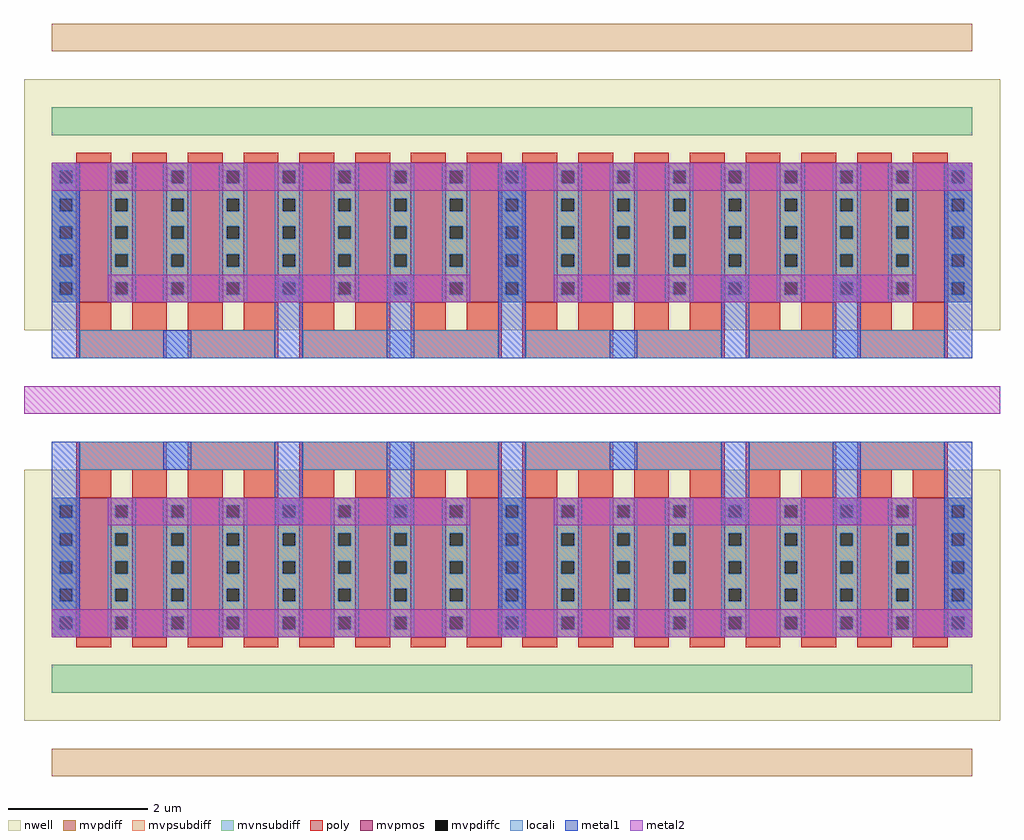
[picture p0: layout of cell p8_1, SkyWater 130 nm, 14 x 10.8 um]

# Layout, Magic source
magic
tech sky130A
<< nwell >>
rect -80 -40 1320 320
rect -80 -600 1320 -240
<< mvpmos >>
rect -5 0 45 200
rect 75 0 125 200
rect 155 0 205 200
rect 235 0 285 200
rect 315 0 365 200
rect 395 0 445 200
rect 475 0 525 200
rect 555 0 605 200
rect 635 0 685 200
rect 715 0 765 200
rect 795 0 845 200
rect 875 0 925 200
rect 955 0 1005 200
rect 1035 0 1085 200
rect 1115 0 1165 200
rect 1195 0 1245 200
rect -5 -480 45 -280
rect 75 -480 125 -280
rect 155 -480 205 -280
rect 235 -480 285 -280
rect 315 -480 365 -280
rect 395 -480 445 -280
rect 475 -480 525 -280
rect 555 -480 605 -280
rect 635 -480 685 -280
rect 715 -480 765 -280
rect 795 -480 845 -280
rect 875 -480 925 -280
rect 955 -480 1005 -280
rect 1035 -480 1085 -280
rect 1115 -480 1165 -280
rect 1195 -480 1245 -280
<< mvpdiff >>
rect -40 189 -5 200
rect -40 171 -29 189
rect -11 171 -5 189
rect -40 149 -5 171
rect -40 131 -29 149
rect -11 131 -5 149
rect -40 109 -5 131
rect -40 91 -29 109
rect -11 91 -5 109
rect -40 69 -5 91
rect -40 51 -29 69
rect -11 51 -5 69
rect -40 29 -5 51
rect -40 11 -29 29
rect -11 11 -5 29
rect -40 0 -5 11
rect 45 189 75 200
rect 45 171 51 189
rect 69 171 75 189
rect 45 149 75 171
rect 45 131 51 149
rect 69 131 75 149
rect 45 109 75 131
rect 45 91 51 109
rect 69 91 75 109
rect 45 69 75 91
rect 45 51 51 69
rect 69 51 75 69
rect 45 29 75 51
rect 45 11 51 29
rect 69 11 75 29
rect 45 0 75 11
rect 125 189 155 200
rect 125 171 131 189
rect 149 171 155 189
rect 125 149 155 171
rect 125 131 131 149
rect 149 131 155 149
rect 125 109 155 131
rect 125 91 131 109
rect 149 91 155 109
rect 125 69 155 91
rect 125 51 131 69
rect 149 51 155 69
rect 125 29 155 51
rect 125 11 131 29
rect 149 11 155 29
rect 125 0 155 11
rect 205 189 235 200
rect 205 171 211 189
rect 229 171 235 189
rect 205 149 235 171
rect 205 131 211 149
rect 229 131 235 149
rect 205 109 235 131
rect 205 91 211 109
rect 229 91 235 109
rect 205 69 235 91
rect 205 51 211 69
rect 229 51 235 69
rect 205 29 235 51
rect 205 11 211 29
rect 229 11 235 29
rect 205 0 235 11
rect 285 189 315 200
rect 285 171 291 189
rect 309 171 315 189
rect 285 149 315 171
rect 285 131 291 149
rect 309 131 315 149
rect 285 109 315 131
rect 285 91 291 109
rect 309 91 315 109
rect 285 69 315 91
rect 285 51 291 69
rect 309 51 315 69
rect 285 29 315 51
rect 285 11 291 29
rect 309 11 315 29
rect 285 0 315 11
rect 365 189 395 200
rect 365 171 371 189
rect 389 171 395 189
rect 365 149 395 171
rect 365 131 371 149
rect 389 131 395 149
rect 365 109 395 131
rect 365 91 371 109
rect 389 91 395 109
rect 365 69 395 91
rect 365 51 371 69
rect 389 51 395 69
rect 365 29 395 51
rect 365 11 371 29
rect 389 11 395 29
rect 365 0 395 11
rect 445 189 475 200
rect 445 171 451 189
rect 469 171 475 189
rect 445 149 475 171
rect 445 131 451 149
rect 469 131 475 149
rect 445 109 475 131
rect 445 91 451 109
rect 469 91 475 109
rect 445 69 475 91
rect 445 51 451 69
rect 469 51 475 69
rect 445 29 475 51
rect 445 11 451 29
rect 469 11 475 29
rect 445 0 475 11
rect 525 189 555 200
rect 525 171 531 189
rect 549 171 555 189
rect 525 149 555 171
rect 525 131 531 149
rect 549 131 555 149
rect 525 109 555 131
rect 525 91 531 109
rect 549 91 555 109
rect 525 69 555 91
rect 525 51 531 69
rect 549 51 555 69
rect 525 29 555 51
rect 525 11 531 29
rect 549 11 555 29
rect 525 0 555 11
rect 605 189 635 200
rect 605 171 611 189
rect 629 171 635 189
rect 605 149 635 171
rect 605 131 611 149
rect 629 131 635 149
rect 605 109 635 131
rect 605 91 611 109
rect 629 91 635 109
rect 605 69 635 91
rect 605 51 611 69
rect 629 51 635 69
rect 605 29 635 51
rect 605 11 611 29
rect 629 11 635 29
rect 605 0 635 11
rect 685 189 715 200
rect 685 171 691 189
rect 709 171 715 189
rect 685 149 715 171
rect 685 131 691 149
rect 709 131 715 149
rect 685 109 715 131
rect 685 91 691 109
rect 709 91 715 109
rect 685 69 715 91
rect 685 51 691 69
rect 709 51 715 69
rect 685 29 715 51
rect 685 11 691 29
rect 709 11 715 29
rect 685 0 715 11
rect 765 189 795 200
rect 765 171 771 189
rect 789 171 795 189
rect 765 149 795 171
rect 765 131 771 149
rect 789 131 795 149
rect 765 109 795 131
rect 765 91 771 109
rect 789 91 795 109
rect 765 69 795 91
rect 765 51 771 69
rect 789 51 795 69
rect 765 29 795 51
rect 765 11 771 29
rect 789 11 795 29
rect 765 0 795 11
rect 845 189 875 200
rect 845 171 851 189
rect 869 171 875 189
rect 845 149 875 171
rect 845 131 851 149
rect 869 131 875 149
rect 845 109 875 131
rect 845 91 851 109
rect 869 91 875 109
rect 845 69 875 91
rect 845 51 851 69
rect 869 51 875 69
rect 845 29 875 51
rect 845 11 851 29
rect 869 11 875 29
rect 845 0 875 11
rect 925 189 955 200
rect 925 171 931 189
rect 949 171 955 189
rect 925 149 955 171
rect 925 131 931 149
rect 949 131 955 149
rect 925 109 955 131
rect 925 91 931 109
rect 949 91 955 109
rect 925 69 955 91
rect 925 51 931 69
rect 949 51 955 69
rect 925 29 955 51
rect 925 11 931 29
rect 949 11 955 29
rect 925 0 955 11
rect 1005 189 1035 200
rect 1005 171 1011 189
rect 1029 171 1035 189
rect 1005 149 1035 171
rect 1005 131 1011 149
rect 1029 131 1035 149
rect 1005 109 1035 131
rect 1005 91 1011 109
rect 1029 91 1035 109
rect 1005 69 1035 91
rect 1005 51 1011 69
rect 1029 51 1035 69
rect 1005 29 1035 51
rect 1005 11 1011 29
rect 1029 11 1035 29
rect 1005 0 1035 11
rect 1085 189 1115 200
rect 1085 171 1091 189
rect 1109 171 1115 189
rect 1085 149 1115 171
rect 1085 131 1091 149
rect 1109 131 1115 149
rect 1085 109 1115 131
rect 1085 91 1091 109
rect 1109 91 1115 109
rect 1085 69 1115 91
rect 1085 51 1091 69
rect 1109 51 1115 69
rect 1085 29 1115 51
rect 1085 11 1091 29
rect 1109 11 1115 29
rect 1085 0 1115 11
rect 1165 189 1195 200
rect 1165 171 1171 189
rect 1189 171 1195 189
rect 1165 149 1195 171
rect 1165 131 1171 149
rect 1189 131 1195 149
rect 1165 109 1195 131
rect 1165 91 1171 109
rect 1189 91 1195 109
rect 1165 69 1195 91
rect 1165 51 1171 69
rect 1189 51 1195 69
rect 1165 29 1195 51
rect 1165 11 1171 29
rect 1189 11 1195 29
rect 1165 0 1195 11
rect 1245 189 1280 200
rect 1245 171 1251 189
rect 1269 171 1280 189
rect 1245 149 1280 171
rect 1245 131 1251 149
rect 1269 131 1280 149
rect 1245 109 1280 131
rect 1245 91 1251 109
rect 1269 91 1280 109
rect 1245 69 1280 91
rect 1245 51 1251 69
rect 1269 51 1280 69
rect 1245 29 1280 51
rect 1245 11 1251 29
rect 1269 11 1280 29
rect 1245 0 1280 11
rect -40 -291 -5 -280
rect -40 -309 -29 -291
rect -11 -309 -5 -291
rect -40 -331 -5 -309
rect -40 -349 -29 -331
rect -11 -349 -5 -331
rect -40 -371 -5 -349
rect -40 -389 -29 -371
rect -11 -389 -5 -371
rect -40 -411 -5 -389
rect -40 -429 -29 -411
rect -11 -429 -5 -411
rect -40 -451 -5 -429
rect -40 -469 -29 -451
rect -11 -469 -5 -451
rect -40 -480 -5 -469
rect 45 -291 75 -280
rect 45 -309 51 -291
rect 69 -309 75 -291
rect 45 -331 75 -309
rect 45 -349 51 -331
rect 69 -349 75 -331
rect 45 -371 75 -349
rect 45 -389 51 -371
rect 69 -389 75 -371
rect 45 -411 75 -389
rect 45 -429 51 -411
rect 69 -429 75 -411
rect 45 -451 75 -429
rect 45 -469 51 -451
rect 69 -469 75 -451
rect 45 -480 75 -469
rect 125 -291 155 -280
rect 125 -309 131 -291
rect 149 -309 155 -291
rect 125 -331 155 -309
rect 125 -349 131 -331
rect 149 -349 155 -331
rect 125 -371 155 -349
rect 125 -389 131 -371
rect 149 -389 155 -371
rect 125 -411 155 -389
rect 125 -429 131 -411
rect 149 -429 155 -411
rect 125 -451 155 -429
rect 125 -469 131 -451
rect 149 -469 155 -451
rect 125 -480 155 -469
rect 205 -291 235 -280
rect 205 -309 211 -291
rect 229 -309 235 -291
rect 205 -331 235 -309
rect 205 -349 211 -331
rect 229 -349 235 -331
rect 205 -371 235 -349
rect 205 -389 211 -371
rect 229 -389 235 -371
rect 205 -411 235 -389
rect 205 -429 211 -411
rect 229 -429 235 -411
rect 205 -451 235 -429
rect 205 -469 211 -451
rect 229 -469 235 -451
rect 205 -480 235 -469
rect 285 -291 315 -280
rect 285 -309 291 -291
rect 309 -309 315 -291
rect 285 -331 315 -309
rect 285 -349 291 -331
rect 309 -349 315 -331
rect 285 -371 315 -349
rect 285 -389 291 -371
rect 309 -389 315 -371
rect 285 -411 315 -389
rect 285 -429 291 -411
rect 309 -429 315 -411
rect 285 -451 315 -429
rect 285 -469 291 -451
rect 309 -469 315 -451
rect 285 -480 315 -469
rect 365 -291 395 -280
rect 365 -309 371 -291
rect 389 -309 395 -291
rect 365 -331 395 -309
rect 365 -349 371 -331
rect 389 -349 395 -331
rect 365 -371 395 -349
rect 365 -389 371 -371
rect 389 -389 395 -371
rect 365 -411 395 -389
rect 365 -429 371 -411
rect 389 -429 395 -411
rect 365 -451 395 -429
rect 365 -469 371 -451
rect 389 -469 395 -451
rect 365 -480 395 -469
rect 445 -291 475 -280
rect 445 -309 451 -291
rect 469 -309 475 -291
rect 445 -331 475 -309
rect 445 -349 451 -331
rect 469 -349 475 -331
rect 445 -371 475 -349
rect 445 -389 451 -371
rect 469 -389 475 -371
rect 445 -411 475 -389
rect 445 -429 451 -411
rect 469 -429 475 -411
rect 445 -451 475 -429
rect 445 -469 451 -451
rect 469 -469 475 -451
rect 445 -480 475 -469
rect 525 -291 555 -280
rect 525 -309 531 -291
rect 549 -309 555 -291
rect 525 -331 555 -309
rect 525 -349 531 -331
rect 549 -349 555 -331
rect 525 -371 555 -349
rect 525 -389 531 -371
rect 549 -389 555 -371
rect 525 -411 555 -389
rect 525 -429 531 -411
rect 549 -429 555 -411
rect 525 -451 555 -429
rect 525 -469 531 -451
rect 549 -469 555 -451
rect 525 -480 555 -469
rect 605 -291 635 -280
rect 605 -309 611 -291
rect 629 -309 635 -291
rect 605 -331 635 -309
rect 605 -349 611 -331
rect 629 -349 635 -331
rect 605 -371 635 -349
rect 605 -389 611 -371
rect 629 -389 635 -371
rect 605 -411 635 -389
rect 605 -429 611 -411
rect 629 -429 635 -411
rect 605 -451 635 -429
rect 605 -469 611 -451
rect 629 -469 635 -451
rect 605 -480 635 -469
rect 685 -291 715 -280
rect 685 -309 691 -291
rect 709 -309 715 -291
rect 685 -331 715 -309
rect 685 -349 691 -331
rect 709 -349 715 -331
rect 685 -371 715 -349
rect 685 -389 691 -371
rect 709 -389 715 -371
rect 685 -411 715 -389
rect 685 -429 691 -411
rect 709 -429 715 -411
rect 685 -451 715 -429
rect 685 -469 691 -451
rect 709 -469 715 -451
rect 685 -480 715 -469
rect 765 -291 795 -280
rect 765 -309 771 -291
rect 789 -309 795 -291
rect 765 -331 795 -309
rect 765 -349 771 -331
rect 789 -349 795 -331
rect 765 -371 795 -349
rect 765 -389 771 -371
rect 789 -389 795 -371
rect 765 -411 795 -389
rect 765 -429 771 -411
rect 789 -429 795 -411
rect 765 -451 795 -429
rect 765 -469 771 -451
rect 789 -469 795 -451
rect 765 -480 795 -469
rect 845 -291 875 -280
rect 845 -309 851 -291
rect 869 -309 875 -291
rect 845 -331 875 -309
rect 845 -349 851 -331
rect 869 -349 875 -331
rect 845 -371 875 -349
rect 845 -389 851 -371
rect 869 -389 875 -371
rect 845 -411 875 -389
rect 845 -429 851 -411
rect 869 -429 875 -411
rect 845 -451 875 -429
rect 845 -469 851 -451
rect 869 -469 875 -451
rect 845 -480 875 -469
rect 925 -291 955 -280
rect 925 -309 931 -291
rect 949 -309 955 -291
rect 925 -331 955 -309
rect 925 -349 931 -331
rect 949 -349 955 -331
rect 925 -371 955 -349
rect 925 -389 931 -371
rect 949 -389 955 -371
rect 925 -411 955 -389
rect 925 -429 931 -411
rect 949 -429 955 -411
rect 925 -451 955 -429
rect 925 -469 931 -451
rect 949 -469 955 -451
rect 925 -480 955 -469
rect 1005 -291 1035 -280
rect 1005 -309 1011 -291
rect 1029 -309 1035 -291
rect 1005 -331 1035 -309
rect 1005 -349 1011 -331
rect 1029 -349 1035 -331
rect 1005 -371 1035 -349
rect 1005 -389 1011 -371
rect 1029 -389 1035 -371
rect 1005 -411 1035 -389
rect 1005 -429 1011 -411
rect 1029 -429 1035 -411
rect 1005 -451 1035 -429
rect 1005 -469 1011 -451
rect 1029 -469 1035 -451
rect 1005 -480 1035 -469
rect 1085 -291 1115 -280
rect 1085 -309 1091 -291
rect 1109 -309 1115 -291
rect 1085 -331 1115 -309
rect 1085 -349 1091 -331
rect 1109 -349 1115 -331
rect 1085 -371 1115 -349
rect 1085 -389 1091 -371
rect 1109 -389 1115 -371
rect 1085 -411 1115 -389
rect 1085 -429 1091 -411
rect 1109 -429 1115 -411
rect 1085 -451 1115 -429
rect 1085 -469 1091 -451
rect 1109 -469 1115 -451
rect 1085 -480 1115 -469
rect 1165 -291 1195 -280
rect 1165 -309 1171 -291
rect 1189 -309 1195 -291
rect 1165 -331 1195 -309
rect 1165 -349 1171 -331
rect 1189 -349 1195 -331
rect 1165 -371 1195 -349
rect 1165 -389 1171 -371
rect 1189 -389 1195 -371
rect 1165 -411 1195 -389
rect 1165 -429 1171 -411
rect 1189 -429 1195 -411
rect 1165 -451 1195 -429
rect 1165 -469 1171 -451
rect 1189 -469 1195 -451
rect 1165 -480 1195 -469
rect 1245 -291 1280 -280
rect 1245 -309 1251 -291
rect 1269 -309 1280 -291
rect 1245 -331 1280 -309
rect 1245 -349 1251 -331
rect 1269 -349 1280 -331
rect 1245 -371 1280 -349
rect 1245 -389 1251 -371
rect 1269 -389 1280 -371
rect 1245 -411 1280 -389
rect 1245 -429 1251 -411
rect 1269 -429 1280 -411
rect 1245 -451 1280 -429
rect 1245 -469 1251 -451
rect 1269 -469 1280 -451
rect 1245 -480 1280 -469
<< mvpdiffc >>
rect -29 171 -11 189
rect -29 131 -11 149
rect -29 91 -11 109
rect -29 51 -11 69
rect -29 11 -11 29
rect 51 171 69 189
rect 51 131 69 149
rect 51 91 69 109
rect 51 51 69 69
rect 51 11 69 29
rect 131 171 149 189
rect 131 131 149 149
rect 131 91 149 109
rect 131 51 149 69
rect 131 11 149 29
rect 211 171 229 189
rect 211 131 229 149
rect 211 91 229 109
rect 211 51 229 69
rect 211 11 229 29
rect 291 171 309 189
rect 291 131 309 149
rect 291 91 309 109
rect 291 51 309 69
rect 291 11 309 29
rect 371 171 389 189
rect 371 131 389 149
rect 371 91 389 109
rect 371 51 389 69
rect 371 11 389 29
rect 451 171 469 189
rect 451 131 469 149
rect 451 91 469 109
rect 451 51 469 69
rect 451 11 469 29
rect 531 171 549 189
rect 531 131 549 149
rect 531 91 549 109
rect 531 51 549 69
rect 531 11 549 29
rect 611 171 629 189
rect 611 131 629 149
rect 611 91 629 109
rect 611 51 629 69
rect 611 11 629 29
rect 691 171 709 189
rect 691 131 709 149
rect 691 91 709 109
rect 691 51 709 69
rect 691 11 709 29
rect 771 171 789 189
rect 771 131 789 149
rect 771 91 789 109
rect 771 51 789 69
rect 771 11 789 29
rect 851 171 869 189
rect 851 131 869 149
rect 851 91 869 109
rect 851 51 869 69
rect 851 11 869 29
rect 931 171 949 189
rect 931 131 949 149
rect 931 91 949 109
rect 931 51 949 69
rect 931 11 949 29
rect 1011 171 1029 189
rect 1011 131 1029 149
rect 1011 91 1029 109
rect 1011 51 1029 69
rect 1011 11 1029 29
rect 1091 171 1109 189
rect 1091 131 1109 149
rect 1091 91 1109 109
rect 1091 51 1109 69
rect 1091 11 1109 29
rect 1171 171 1189 189
rect 1171 131 1189 149
rect 1171 91 1189 109
rect 1171 51 1189 69
rect 1171 11 1189 29
rect 1251 171 1269 189
rect 1251 131 1269 149
rect 1251 91 1269 109
rect 1251 51 1269 69
rect 1251 11 1269 29
rect -29 -309 -11 -291
rect -29 -349 -11 -331
rect -29 -389 -11 -371
rect -29 -429 -11 -411
rect -29 -469 -11 -451
rect 51 -309 69 -291
rect 51 -349 69 -331
rect 51 -389 69 -371
rect 51 -429 69 -411
rect 51 -469 69 -451
rect 131 -309 149 -291
rect 131 -349 149 -331
rect 131 -389 149 -371
rect 131 -429 149 -411
rect 131 -469 149 -451
rect 211 -309 229 -291
rect 211 -349 229 -331
rect 211 -389 229 -371
rect 211 -429 229 -411
rect 211 -469 229 -451
rect 291 -309 309 -291
rect 291 -349 309 -331
rect 291 -389 309 -371
rect 291 -429 309 -411
rect 291 -469 309 -451
rect 371 -309 389 -291
rect 371 -349 389 -331
rect 371 -389 389 -371
rect 371 -429 389 -411
rect 371 -469 389 -451
rect 451 -309 469 -291
rect 451 -349 469 -331
rect 451 -389 469 -371
rect 451 -429 469 -411
rect 451 -469 469 -451
rect 531 -309 549 -291
rect 531 -349 549 -331
rect 531 -389 549 -371
rect 531 -429 549 -411
rect 531 -469 549 -451
rect 611 -309 629 -291
rect 611 -349 629 -331
rect 611 -389 629 -371
rect 611 -429 629 -411
rect 611 -469 629 -451
rect 691 -309 709 -291
rect 691 -349 709 -331
rect 691 -389 709 -371
rect 691 -429 709 -411
rect 691 -469 709 -451
rect 771 -309 789 -291
rect 771 -349 789 -331
rect 771 -389 789 -371
rect 771 -429 789 -411
rect 771 -469 789 -451
rect 851 -309 869 -291
rect 851 -349 869 -331
rect 851 -389 869 -371
rect 851 -429 869 -411
rect 851 -469 869 -451
rect 931 -309 949 -291
rect 931 -349 949 -331
rect 931 -389 949 -371
rect 931 -429 949 -411
rect 931 -469 949 -451
rect 1011 -309 1029 -291
rect 1011 -349 1029 -331
rect 1011 -389 1029 -371
rect 1011 -429 1029 -411
rect 1011 -469 1029 -451
rect 1091 -309 1109 -291
rect 1091 -349 1109 -331
rect 1091 -389 1109 -371
rect 1091 -429 1109 -411
rect 1091 -469 1109 -451
rect 1171 -309 1189 -291
rect 1171 -349 1189 -331
rect 1171 -389 1189 -371
rect 1171 -429 1189 -411
rect 1171 -469 1189 -451
rect 1251 -309 1269 -291
rect 1251 -349 1269 -331
rect 1251 -389 1269 -371
rect 1251 -429 1269 -411
rect 1251 -469 1269 -451
<< mvpsubdiff >>
rect -40 360 1280 400
rect -40 -680 1280 -640
<< mvnsubdiff >>
rect -40 240 1280 280
rect -40 -560 1280 -520
<< poly >>
rect -5 200 45 215
rect 75 200 125 215
rect 155 200 205 215
rect 235 200 285 215
rect 315 200 365 215
rect 395 200 445 215
rect 475 200 525 215
rect 555 200 605 215
rect 635 200 685 215
rect 715 200 765 215
rect 795 200 845 215
rect 875 200 925 215
rect 955 200 1005 215
rect 1035 200 1085 215
rect 1115 200 1165 215
rect 1195 200 1245 215
rect -5 -40 45 0
rect 75 -40 125 0
rect -5 -80 125 -40
rect 155 -40 205 0
rect 235 -40 285 0
rect 155 -80 285 -40
rect 315 -40 365 0
rect 395 -40 445 0
rect 315 -80 445 -40
rect 475 -40 525 0
rect 555 -40 605 0
rect 475 -80 605 -40
rect 635 -40 685 0
rect 715 -40 765 0
rect 635 -80 765 -40
rect 795 -40 845 0
rect 875 -40 925 0
rect 795 -80 925 -40
rect 955 -40 1005 0
rect 1035 -40 1085 0
rect 955 -80 1085 -40
rect 1115 -40 1165 0
rect 1195 -40 1245 0
rect 1115 -80 1245 -40
rect -5 -240 125 -200
rect -5 -280 45 -240
rect 75 -280 125 -240
rect 155 -240 285 -200
rect 155 -280 205 -240
rect 235 -280 285 -240
rect 315 -240 445 -200
rect 315 -280 365 -240
rect 395 -280 445 -240
rect 475 -240 605 -200
rect 475 -280 525 -240
rect 555 -280 605 -240
rect 635 -240 765 -200
rect 635 -280 685 -240
rect 715 -280 765 -240
rect 795 -240 925 -200
rect 795 -280 845 -240
rect 875 -280 925 -240
rect 955 -240 1085 -200
rect 955 -280 1005 -240
rect 1035 -280 1085 -240
rect 1115 -240 1245 -200
rect 1115 -280 1165 -240
rect 1195 -280 1245 -240
rect -5 -495 45 -480
rect 75 -495 125 -480
rect 155 -495 205 -480
rect 235 -495 285 -480
rect 315 -495 365 -480
rect 395 -495 445 -480
rect 475 -495 525 -480
rect 555 -495 605 -480
rect 635 -495 685 -480
rect 715 -495 765 -480
rect 795 -495 845 -480
rect 875 -495 925 -480
rect 955 -495 1005 -480
rect 1035 -495 1085 -480
rect 1115 -495 1165 -480
rect 1195 -495 1245 -480
<< locali >>
rect -40 189 0 200
rect -40 171 -29 189
rect -11 171 0 189
rect -40 149 0 171
rect -40 131 -29 149
rect -11 131 0 149
rect -40 109 0 131
rect -40 91 -29 109
rect -11 91 0 109
rect -40 69 0 91
rect -40 51 -29 69
rect -11 51 0 69
rect -40 29 0 51
rect -40 11 -29 29
rect -11 11 0 29
rect -40 0 0 11
rect 40 189 80 200
rect 40 171 51 189
rect 69 171 80 189
rect 40 149 80 171
rect 40 131 51 149
rect 69 131 80 149
rect 40 109 80 131
rect 40 91 51 109
rect 69 91 80 109
rect 40 69 80 91
rect 40 51 51 69
rect 69 51 80 69
rect 40 29 80 51
rect 40 11 51 29
rect 69 11 80 29
rect 40 0 80 11
rect 120 189 160 200
rect 120 171 131 189
rect 149 171 160 189
rect 120 149 160 171
rect 120 131 131 149
rect 149 131 160 149
rect 120 109 160 131
rect 120 91 131 109
rect 149 91 160 109
rect 120 69 160 91
rect 120 51 131 69
rect 149 51 160 69
rect 120 29 160 51
rect 120 11 131 29
rect 149 11 160 29
rect 120 0 160 11
rect 200 189 240 200
rect 200 171 211 189
rect 229 171 240 189
rect 200 149 240 171
rect 200 131 211 149
rect 229 131 240 149
rect 200 109 240 131
rect 200 91 211 109
rect 229 91 240 109
rect 200 69 240 91
rect 200 51 211 69
rect 229 51 240 69
rect 200 29 240 51
rect 200 11 211 29
rect 229 11 240 29
rect 200 0 240 11
rect 280 189 320 200
rect 280 171 291 189
rect 309 171 320 189
rect 280 149 320 171
rect 280 131 291 149
rect 309 131 320 149
rect 280 109 320 131
rect 280 91 291 109
rect 309 91 320 109
rect 280 69 320 91
rect 280 51 291 69
rect 309 51 320 69
rect 280 29 320 51
rect 280 11 291 29
rect 309 11 320 29
rect 280 0 320 11
rect 360 189 400 200
rect 360 171 371 189
rect 389 171 400 189
rect 360 149 400 171
rect 360 131 371 149
rect 389 131 400 149
rect 360 109 400 131
rect 360 91 371 109
rect 389 91 400 109
rect 360 69 400 91
rect 360 51 371 69
rect 389 51 400 69
rect 360 29 400 51
rect 360 11 371 29
rect 389 11 400 29
rect 360 0 400 11
rect 440 189 480 200
rect 440 171 451 189
rect 469 171 480 189
rect 440 149 480 171
rect 440 131 451 149
rect 469 131 480 149
rect 440 109 480 131
rect 440 91 451 109
rect 469 91 480 109
rect 440 69 480 91
rect 440 51 451 69
rect 469 51 480 69
rect 440 29 480 51
rect 440 11 451 29
rect 469 11 480 29
rect 440 0 480 11
rect 520 189 560 200
rect 520 171 531 189
rect 549 171 560 189
rect 520 149 560 171
rect 520 131 531 149
rect 549 131 560 149
rect 520 109 560 131
rect 520 91 531 109
rect 549 91 560 109
rect 520 69 560 91
rect 520 51 531 69
rect 549 51 560 69
rect 520 29 560 51
rect 520 11 531 29
rect 549 11 560 29
rect 520 0 560 11
rect 600 189 640 200
rect 600 171 611 189
rect 629 171 640 189
rect 600 149 640 171
rect 600 131 611 149
rect 629 131 640 149
rect 600 109 640 131
rect 600 91 611 109
rect 629 91 640 109
rect 600 69 640 91
rect 600 51 611 69
rect 629 51 640 69
rect 600 29 640 51
rect 600 11 611 29
rect 629 11 640 29
rect 600 0 640 11
rect 680 189 720 200
rect 680 171 691 189
rect 709 171 720 189
rect 680 149 720 171
rect 680 131 691 149
rect 709 131 720 149
rect 680 109 720 131
rect 680 91 691 109
rect 709 91 720 109
rect 680 69 720 91
rect 680 51 691 69
rect 709 51 720 69
rect 680 29 720 51
rect 680 11 691 29
rect 709 11 720 29
rect 680 0 720 11
rect 760 189 800 200
rect 760 171 771 189
rect 789 171 800 189
rect 760 149 800 171
rect 760 131 771 149
rect 789 131 800 149
rect 760 109 800 131
rect 760 91 771 109
rect 789 91 800 109
rect 760 69 800 91
rect 760 51 771 69
rect 789 51 800 69
rect 760 29 800 51
rect 760 11 771 29
rect 789 11 800 29
rect 760 0 800 11
rect 840 189 880 200
rect 840 171 851 189
rect 869 171 880 189
rect 840 149 880 171
rect 840 131 851 149
rect 869 131 880 149
rect 840 109 880 131
rect 840 91 851 109
rect 869 91 880 109
rect 840 69 880 91
rect 840 51 851 69
rect 869 51 880 69
rect 840 29 880 51
rect 840 11 851 29
rect 869 11 880 29
rect 840 0 880 11
rect 920 189 960 200
rect 920 171 931 189
rect 949 171 960 189
rect 920 149 960 171
rect 920 131 931 149
rect 949 131 960 149
rect 920 109 960 131
rect 920 91 931 109
rect 949 91 960 109
rect 920 69 960 91
rect 920 51 931 69
rect 949 51 960 69
rect 920 29 960 51
rect 920 11 931 29
rect 949 11 960 29
rect 920 0 960 11
rect 1000 189 1040 200
rect 1000 171 1011 189
rect 1029 171 1040 189
rect 1000 149 1040 171
rect 1000 131 1011 149
rect 1029 131 1040 149
rect 1000 109 1040 131
rect 1000 91 1011 109
rect 1029 91 1040 109
rect 1000 69 1040 91
rect 1000 51 1011 69
rect 1029 51 1040 69
rect 1000 29 1040 51
rect 1000 11 1011 29
rect 1029 11 1040 29
rect 1000 0 1040 11
rect 1080 189 1120 200
rect 1080 171 1091 189
rect 1109 171 1120 189
rect 1080 149 1120 171
rect 1080 131 1091 149
rect 1109 131 1120 149
rect 1080 109 1120 131
rect 1080 91 1091 109
rect 1109 91 1120 109
rect 1080 69 1120 91
rect 1080 51 1091 69
rect 1109 51 1120 69
rect 1080 29 1120 51
rect 1080 11 1091 29
rect 1109 11 1120 29
rect 1080 0 1120 11
rect 1160 189 1200 200
rect 1160 171 1171 189
rect 1189 171 1200 189
rect 1160 149 1200 171
rect 1160 131 1171 149
rect 1189 131 1200 149
rect 1160 109 1200 131
rect 1160 91 1171 109
rect 1189 91 1200 109
rect 1160 69 1200 91
rect 1160 51 1171 69
rect 1189 51 1200 69
rect 1160 29 1200 51
rect 1160 11 1171 29
rect 1189 11 1200 29
rect 1160 0 1200 11
rect 1240 189 1280 200
rect 1240 171 1251 189
rect 1269 171 1280 189
rect 1240 149 1280 171
rect 1240 131 1251 149
rect 1269 131 1280 149
rect 1240 109 1280 131
rect 1240 91 1251 109
rect 1269 91 1280 109
rect 1240 69 1280 91
rect 1240 51 1251 69
rect 1269 51 1280 69
rect 1240 29 1280 51
rect 1240 11 1251 29
rect 1269 11 1280 29
rect 1240 0 1280 11
rect 0 -80 280 -40
rect 320 -80 600 -40
rect 640 -80 920 -40
rect 960 -80 1240 -40
rect 0 -240 280 -200
rect 320 -240 600 -200
rect 640 -240 920 -200
rect 960 -240 1240 -200
rect -40 -291 0 -280
rect -40 -309 -29 -291
rect -11 -309 0 -291
rect -40 -331 0 -309
rect -40 -349 -29 -331
rect -11 -349 0 -331
rect -40 -371 0 -349
rect -40 -389 -29 -371
rect -11 -389 0 -371
rect -40 -411 0 -389
rect -40 -429 -29 -411
rect -11 -429 0 -411
rect -40 -451 0 -429
rect -40 -469 -29 -451
rect -11 -469 0 -451
rect -40 -480 0 -469
rect 40 -291 80 -280
rect 40 -309 51 -291
rect 69 -309 80 -291
rect 40 -331 80 -309
rect 40 -349 51 -331
rect 69 -349 80 -331
rect 40 -371 80 -349
rect 40 -389 51 -371
rect 69 -389 80 -371
rect 40 -411 80 -389
rect 40 -429 51 -411
rect 69 -429 80 -411
rect 40 -451 80 -429
rect 40 -469 51 -451
rect 69 -469 80 -451
rect 40 -480 80 -469
rect 120 -291 160 -280
rect 120 -309 131 -291
rect 149 -309 160 -291
rect 120 -331 160 -309
rect 120 -349 131 -331
rect 149 -349 160 -331
rect 120 -371 160 -349
rect 120 -389 131 -371
rect 149 -389 160 -371
rect 120 -411 160 -389
rect 120 -429 131 -411
rect 149 -429 160 -411
rect 120 -451 160 -429
rect 120 -469 131 -451
rect 149 -469 160 -451
rect 120 -480 160 -469
rect 200 -291 240 -280
rect 200 -309 211 -291
rect 229 -309 240 -291
rect 200 -331 240 -309
rect 200 -349 211 -331
rect 229 -349 240 -331
rect 200 -371 240 -349
rect 200 -389 211 -371
rect 229 -389 240 -371
rect 200 -411 240 -389
rect 200 -429 211 -411
rect 229 -429 240 -411
rect 200 -451 240 -429
rect 200 -469 211 -451
rect 229 -469 240 -451
rect 200 -480 240 -469
rect 280 -291 320 -280
rect 280 -309 291 -291
rect 309 -309 320 -291
rect 280 -331 320 -309
rect 280 -349 291 -331
rect 309 -349 320 -331
rect 280 -371 320 -349
rect 280 -389 291 -371
rect 309 -389 320 -371
rect 280 -411 320 -389
rect 280 -429 291 -411
rect 309 -429 320 -411
rect 280 -451 320 -429
rect 280 -469 291 -451
rect 309 -469 320 -451
rect 280 -480 320 -469
rect 360 -291 400 -280
rect 360 -309 371 -291
rect 389 -309 400 -291
rect 360 -331 400 -309
rect 360 -349 371 -331
rect 389 -349 400 -331
rect 360 -371 400 -349
rect 360 -389 371 -371
rect 389 -389 400 -371
rect 360 -411 400 -389
rect 360 -429 371 -411
rect 389 -429 400 -411
rect 360 -451 400 -429
rect 360 -469 371 -451
rect 389 -469 400 -451
rect 360 -480 400 -469
rect 440 -291 480 -280
rect 440 -309 451 -291
rect 469 -309 480 -291
rect 440 -331 480 -309
rect 440 -349 451 -331
rect 469 -349 480 -331
rect 440 -371 480 -349
rect 440 -389 451 -371
rect 469 -389 480 -371
rect 440 -411 480 -389
rect 440 -429 451 -411
rect 469 -429 480 -411
rect 440 -451 480 -429
rect 440 -469 451 -451
rect 469 -469 480 -451
rect 440 -480 480 -469
rect 520 -291 560 -280
rect 520 -309 531 -291
rect 549 -309 560 -291
rect 520 -331 560 -309
rect 520 -349 531 -331
rect 549 -349 560 -331
rect 520 -371 560 -349
rect 520 -389 531 -371
rect 549 -389 560 -371
rect 520 -411 560 -389
rect 520 -429 531 -411
rect 549 -429 560 -411
rect 520 -451 560 -429
rect 520 -469 531 -451
rect 549 -469 560 -451
rect 520 -480 560 -469
rect 600 -291 640 -280
rect 600 -309 611 -291
rect 629 -309 640 -291
rect 600 -331 640 -309
rect 600 -349 611 -331
rect 629 -349 640 -331
rect 600 -371 640 -349
rect 600 -389 611 -371
rect 629 -389 640 -371
rect 600 -411 640 -389
rect 600 -429 611 -411
rect 629 -429 640 -411
rect 600 -451 640 -429
rect 600 -469 611 -451
rect 629 -469 640 -451
rect 600 -480 640 -469
rect 680 -291 720 -280
rect 680 -309 691 -291
rect 709 -309 720 -291
rect 680 -331 720 -309
rect 680 -349 691 -331
rect 709 -349 720 -331
rect 680 -371 720 -349
rect 680 -389 691 -371
rect 709 -389 720 -371
rect 680 -411 720 -389
rect 680 -429 691 -411
rect 709 -429 720 -411
rect 680 -451 720 -429
rect 680 -469 691 -451
rect 709 -469 720 -451
rect 680 -480 720 -469
rect 760 -291 800 -280
rect 760 -309 771 -291
rect 789 -309 800 -291
rect 760 -331 800 -309
rect 760 -349 771 -331
rect 789 -349 800 -331
rect 760 -371 800 -349
rect 760 -389 771 -371
rect 789 -389 800 -371
rect 760 -411 800 -389
rect 760 -429 771 -411
rect 789 -429 800 -411
rect 760 -451 800 -429
rect 760 -469 771 -451
rect 789 -469 800 -451
rect 760 -480 800 -469
rect 840 -291 880 -280
rect 840 -309 851 -291
rect 869 -309 880 -291
rect 840 -331 880 -309
rect 840 -349 851 -331
rect 869 -349 880 -331
rect 840 -371 880 -349
rect 840 -389 851 -371
rect 869 -389 880 -371
rect 840 -411 880 -389
rect 840 -429 851 -411
rect 869 -429 880 -411
rect 840 -451 880 -429
rect 840 -469 851 -451
rect 869 -469 880 -451
rect 840 -480 880 -469
rect 920 -291 960 -280
rect 920 -309 931 -291
rect 949 -309 960 -291
rect 920 -331 960 -309
rect 920 -349 931 -331
rect 949 -349 960 -331
rect 920 -371 960 -349
rect 920 -389 931 -371
rect 949 -389 960 -371
rect 920 -411 960 -389
rect 920 -429 931 -411
rect 949 -429 960 -411
rect 920 -451 960 -429
rect 920 -469 931 -451
rect 949 -469 960 -451
rect 920 -480 960 -469
rect 1000 -291 1040 -280
rect 1000 -309 1011 -291
rect 1029 -309 1040 -291
rect 1000 -331 1040 -309
rect 1000 -349 1011 -331
rect 1029 -349 1040 -331
rect 1000 -371 1040 -349
rect 1000 -389 1011 -371
rect 1029 -389 1040 -371
rect 1000 -411 1040 -389
rect 1000 -429 1011 -411
rect 1029 -429 1040 -411
rect 1000 -451 1040 -429
rect 1000 -469 1011 -451
rect 1029 -469 1040 -451
rect 1000 -480 1040 -469
rect 1080 -291 1120 -280
rect 1080 -309 1091 -291
rect 1109 -309 1120 -291
rect 1080 -331 1120 -309
rect 1080 -349 1091 -331
rect 1109 -349 1120 -331
rect 1080 -371 1120 -349
rect 1080 -389 1091 -371
rect 1109 -389 1120 -371
rect 1080 -411 1120 -389
rect 1080 -429 1091 -411
rect 1109 -429 1120 -411
rect 1080 -451 1120 -429
rect 1080 -469 1091 -451
rect 1109 -469 1120 -451
rect 1080 -480 1120 -469
rect 1160 -291 1200 -280
rect 1160 -309 1171 -291
rect 1189 -309 1200 -291
rect 1160 -331 1200 -309
rect 1160 -349 1171 -331
rect 1189 -349 1200 -331
rect 1160 -371 1200 -349
rect 1160 -389 1171 -371
rect 1189 -389 1200 -371
rect 1160 -411 1200 -389
rect 1160 -429 1171 -411
rect 1189 -429 1200 -411
rect 1160 -451 1200 -429
rect 1160 -469 1171 -451
rect 1189 -469 1200 -451
rect 1160 -480 1200 -469
rect 1240 -291 1280 -280
rect 1240 -309 1251 -291
rect 1269 -309 1280 -291
rect 1240 -331 1280 -309
rect 1240 -349 1251 -331
rect 1269 -349 1280 -331
rect 1240 -371 1280 -349
rect 1240 -389 1251 -371
rect 1269 -389 1280 -371
rect 1240 -411 1280 -389
rect 1240 -429 1251 -411
rect 1269 -429 1280 -411
rect 1240 -451 1280 -429
rect 1240 -469 1251 -451
rect 1269 -469 1280 -451
rect 1240 -480 1280 -469
<< metal1 >>
rect -40 -80 0 200
rect 120 -80 160 -40
rect 280 -80 320 40
rect 440 -80 480 40
rect 600 -80 640 200
rect 760 -80 800 -40
rect 920 -80 960 40
rect 1080 -80 1120 40
rect 1240 -80 1280 200
rect -40 -480 0 -200
rect 120 -240 160 -200
rect 280 -320 320 -200
rect 440 -320 480 -200
rect 600 -480 640 -200
rect 760 -240 800 -200
rect 920 -320 960 -200
rect 1080 -320 1120 -200
rect 1240 -480 1280 -200
<< metal2 >>
rect -40 160 1280 200
rect 40 0 560 40
rect 680 0 1200 40
rect -80 -160 1320 -120
rect 40 -320 560 -280
rect 680 -320 1200 -280
rect -40 -480 1280 -440
<< end >>
